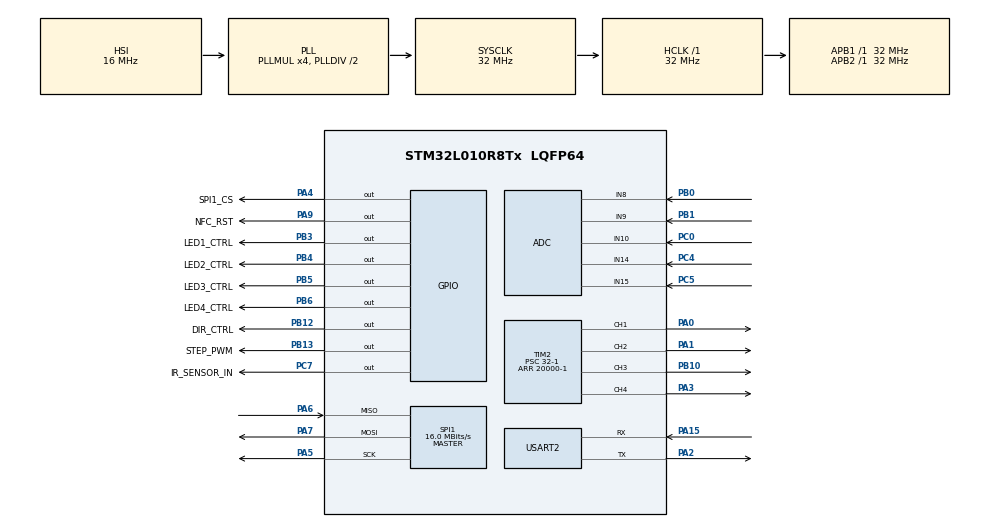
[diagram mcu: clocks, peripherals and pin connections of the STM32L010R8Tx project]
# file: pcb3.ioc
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ADC.ContinuousConvMode=ENABLE
ADC.SamplingTime=ADC_SAMPLETIME_160CYCLES_5
Mcu.Family=STM32L0
Mcu.Name=STM32L010R8Tx
Mcu.Package=LQFP64
NVIC.TIM21_IRQn=true\:0\:0\:false\:false\:true\:true\:true\:true
NVIC.USART2_IRQn=true\:0\:0\:false\:false\:true\:true\:true\:true
PA0.Signal=S_TIM2_CH1
PA1.Signal=S_TIM2_CH2
PA13.Mode=Serial_Wire
PA13.Signal=SYS_SWDIO
PA14.Mode=Serial_Wire
PA14.Signal=SYS_SWCLK
PA15.Mode=Asynchronous
PA15.Signal=USART2_RX
PA2.Mode=Asynchronous
PA2.Signal=USART2_TX
PA3.Signal=S_TIM2_CH4
PA4.GPIO_Label=SPI1_CS
PA4.Signal=GPIO_Output
PA5.Mode=Full_Duplex_Master
PA5.Signal=SPI1_SCK
PA6.Mode=Full_Duplex_Master
PA6.Signal=SPI1_MISO
PA7.Mode=Full_Duplex_Master
PA7.Signal=SPI1_MOSI
PA9.GPIO_Label=NFC_RST
PA9.Signal=GPIO_Output
PB0.GPIO_Mode=GPIO_MODE_ANALOG
PB0.GPIO_PuPd=GPIO_NOPULL
PB0.Mode=IN8
PB0.Signal=ADC_IN8
PB1.GPIO_Mode=GPIO_MODE_ANALOG
PB1.GPIO_PuPd=GPIO_NOPULL
PB1.Mode=IN9
PB1.Signal=ADC_IN9
PB10.Signal=S_TIM2_CH3
PB12.GPIO_Label=DIR_CTRL
PB12.Signal=GPIO_Output
PB13.GPIO_Label=STEP_PWM
PB13.Signal=GPIO_Output
PB3.GPIO_Label=LED1_CTRL
PB3.Signal=GPIO_Output
PB4.GPIO_Label=LED2_CTRL
PB4.Signal=GPIO_Output
PB5.GPIO_Label=LED3_CTRL
PB5.Signal=GPIO_Output
PB6.GPIO_Label=LED4_CTRL
PB6.Signal=GPIO_Output
PC0.Mode=IN10
PC0.Signal=ADC_IN10
PC14-OSC32_IN.Mode=LSE-External-Oscillator
PC14-OSC32_IN.Signal=RCC_OSC32_IN
PC15-OSC32_OUT.Mode=LSE-External-Oscillator
PC15-OSC32_OUT.Signal=RCC_OSC32_OUT
PC4.GPIO_Mode=GPIO_MODE_ANALOG
PC4.GPIO_PuPd=GPIO_NOPULL
PC4.Mode=IN14
PC4.Signal=ADC_IN14
PC5.GPIO_Mode=GPIO_MODE_ANALOG
PC5.GPIO_PuPd=GPIO_NOPULL
PC5.Mode=IN15
PC5.Signal=ADC_IN15
PC7.GPIO_Label=IR_SENSOR_IN
PC7.Signal=GPIO_Output
ProjectManager.HeapSize=0x200
ProjectManager.StackSize=0x400
ProjectManager.TargetToolchain=STM32CubeIDE
RCC.AHBFreq_Value=32000000
RCC.APB1Freq_Value=32000000
RCC.APB1TimFreq_Value=32000000
RCC.APB2Freq_Value=32000000
RCC.APB2TimFreq_Value=32000000
RCC.HCLKFreq_Value=32000000
RCC.HSE_VALUE=8000000
RCC.HSI16_VALUE=16000000
RCC.HSI_VALUE=16000000
RCC.MSI_VALUE=2097000
RCC.PLLMUL=RCC_PLLMUL_4
RCC.SYSCLKFreq_VALUE=32000000
RCC.SYSCLKSource=RCC_SYSCLKSOURCE_PLLCLK
RCC.VCOOutputFreq_Value=64000000
SH.S_TIM2_CH1.0=TIM2_CH1,PWM Generation1 CH1
SH.S_TIM2_CH2.0=TIM2_CH2,PWM Generation2 CH2
SH.S_TIM2_CH3.0=TIM2_CH3,PWM Generation3 CH3
SH.S_TIM2_CH4.0=TIM2_CH4,PWM Generation4 CH4
SPI1.CalculateBaudRate=16.0 MBits/s
SPI1.Direction=SPI_DIRECTION_2LINES
SPI1.Mode=SPI_MODE_MASTER
SPI1.VirtualType=VM_MASTER
TIM2.Channel-PWM\ Generation1\ CH1=TIM_CHANNEL_1
TIM2.Channel-PWM\ Generation2\ CH2=TIM_CHANNEL_2
TIM2.Channel-PWM\ Generation3\ CH3=TIM_CHANNEL_3
TIM2.Channel-PWM\ Generation4\ CH4=TIM_CHANNEL_4
TIM2.Period=20000-1
TIM2.Prescaler=32-1
TIM21.AutoReloadPreload=TIM_AUTORELOAD_PRELOAD_DISABLE
TIM21.Channel-Output\ Compare1\ No\ Output=TIM_CHANNEL_1
TIM21.Period=50000
TIM21.Prescaler=32
USART2.VirtualMode-Asynchronous=VM_ASYNC
VP_LPTIM1_VS_LPTIM_counterModeInternalClock.Mode=Counts__internal_clock_event_00
VP_TIM21_VS_ClockSourceINT.Mode=Internal
VP_TIM21_VS_no_output1.Mode=Output Compare1 No Output
VP_TIM2_VS_ClockSourceINT.Mode=Internal
board=custom

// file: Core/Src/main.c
/* USER CODE BEGIN Header */
/**
  ******************************************************************************
  * @file           : main.c
  * @brief          : Main program body
  ******************************************************************************
  * @attention
  *
  * Copyright (c) 2025 STMicroelectronics.
  * All rights reserved.
  *
  * This software is licensed under terms that can be found in the LICENSE file
  * in the root directory of this software component.
  * If no LICENSE file comes with this software, it is provided AS-IS.
  *
  ******************************************************************************
  */
/* USER CODE END Header */
#include "main.h"

/* USER CODE BEGIN Includes */
#include <stdlib.h>
#include <stdint.h>
//bras
#include <string.h>
#include <stdio.h>
#include "sensors_driver.h"
#include "nfc_sensor.h"

/* USER CODE END Includes */

/* USER CODE BEGIN PM */
//#define USE_PRINTF
/* USER CODE END PM */

ADC_HandleTypeDef hadc;

LPTIM_HandleTypeDef hlptim1;

SPI_HandleTypeDef hspi1;

TIM_HandleTypeDef htim2;
TIM_HandleTypeDef htim21;

UART_HandleTypeDef huart2;

/* USER CODE BEGIN PV */
uint8_t current_section = 0;
uint8_t target_section = 0;

#define TIMER_PERIOD 20000
ARM_STATE arm_state;
uint32_t current_rfid = 0x00;
bool login_successful = false;
uint8_t uartRxByte = 0x00;
uint8_t uartTxBuffer[128];

uint8_t stepsLeft = 0;

uint32_t adcValue1 = 0;
uint32_t adcValue2 = 0;
uint32_t adcValue3 = 0;
uint32_t adcValue4 = 0;
uint32_t batteryValue = 0;

float tension1 = 0.0;
float tension2 = 0.0;
float tension3 = 0.0;
float tension4 = 0.0;

typedef enum {
    ROBOT_DIRECTION_STOP = 0x00,
    ROBOT_DIRECTION_FORWARD = 0x01,
    ROBOT_DIRECTION_BACKWARDS = 0x02,
    ROBOT_DIRECTION_TURN_LEFT = 0x03,
    ROBOT_DIRECTION_TURN_RIGHT = 0x04
} ROBOT_DIRECTION;

ROBOT_DIRECTION current_direction = ROBOT_DIRECTION_FORWARD;
bool is_follow_enabled = false;

/* USER CODE END PV */

void SystemClock_Config(void);
static void MX_GPIO_Init(void);
static void MX_TIM21_Init(void);
static void MX_TIM2_Init(void);
static void MX_ADC_Init(void);
static void MX_SPI1_Init(void);
static void MX_USART2_UART_Init(void);
static void MX_LPTIM1_Init(void);

/* USER CODE BEGIN 0 */

void Set_Direction(uint8_t direction) {
    if (direction) {
        HAL_GPIO_WritePin(GPIOB, GPIO_PIN_12, GPIO_PIN_SET);
    } else {
        HAL_GPIO_WritePin(GPIOB, GPIO_PIN_12, GPIO_PIN_RESET);
    }
}

void stepMotor(uint8_t steps_number) {
	GPIO_PinState state = HAL_GPIO_ReadPin(STEP_PWM_GPIO_Port, STEP_PWM_Pin);
	stepsLeft = 2 * steps_number;
	if (state == GPIO_PIN_SET) {
		HAL_GPIO_WritePin(STEP_PWM_GPIO_Port, STEP_PWM_Pin, GPIO_PIN_RESET);
		stepsLeft++;
	}
	HAL_TIM_Base_Start_IT(&htim21);
}

void RotateToSection(uint8_t section) {

    if (section > 7) return;

    const uint16_t steps_per_section = 25; // 45° / 1.8° = 25

    target_section = section;
    int8_t section_diff = target_section - current_section;

    if (section_diff == 0) return;
    Set_Direction( (section_diff > 0) ? 1 : 0);

    uint16_t steps_to_move = abs(section_diff) * steps_per_section;

//    HAL_TIM_PWM_Start_IT(&htim21, TIM_CHANNEL_1);
//    HAL_Delay(50 * steps_to_move); //T = 0.05s
//    HAL_TIM_PWM_Stop_IT(&htim21, TIM_CHANNEL_1);
    stepMotor(steps_to_move);
}

void ControlMotor(uint8_t direction, float angle) {
    if (angle < 0 || angle > 360) return;

    const float step_angle = 1.8;
    uint16_t steps_to_move = (uint16_t)(angle / step_angle + 0.5);

    if (direction == 1) {
        Set_Direction(1);
    } else if (direction == 0) {
        Set_Direction(0);
    } else {
        return;
    }

    HAL_TIM_PWM_Start_IT(&htim21, TIM_CHANNEL_1);

    for (uint16_t i = 0; i < steps_to_move; i++) {
        HAL_Delay(50);
    }

    HAL_TIM_PWM_Stop_IT(&htim21, TIM_CHANNEL_1);
}

//bras
uint16_t calculate_pwm_from_angle(float angle) {
    if (angle < 0.0f) angle = 0.0f;
    if (angle > 180.0f) angle = 180.0f;

    float duty_cycle = 2.5f + (angle / 180.0f) * (12.5f - 2.5f);

    return (uint16_t)(TIMER_PERIOD * duty_cycle / 100.0f);
}

float calculate_angle_from_pwm(uint16_t pwm) {
    if (pwm > TIMER_PERIOD) return 100.0f;

    float duty_cycle = 100.0f * ((float) pwm) / TIMER_PERIOD;
    float angle = (duty_cycle - 2.5f) / (12.5f - 2.5f) * 180.0f;

    return angle;
}

void control_servo(uint8_t motor_index, float angle) {
    if (motor_index < 1 || motor_index > 6) {
        return;
    }

    uint16_t pwm_value = calculate_pwm_from_angle(angle);

    switch (motor_index) {
        case 2:
            __HAL_TIM_SET_COMPARE(&htim2, TIM_CHANNEL_1, pwm_value);
            break;
        case 3:
            __HAL_TIM_SET_COMPARE(&htim2, TIM_CHANNEL_2, pwm_value);
            break;
        case 4:
            __HAL_TIM_SET_COMPARE(&htim2, TIM_CHANNEL_3, pwm_value);
            break;
        case 6:
            __HAL_TIM_SET_COMPARE(&htim2, TIM_CHANNEL_4, pwm_value);
            break;
    }
    arm_state = ARM_STATE_CUSTOM;
}

float read_servo(uint8_t motor_index) {
    if (motor_index < 1 || motor_index > 6) {
        return 0.0f;
    }

    uint16_t pwm_value = 0;
    switch (motor_index) {
        case 2:
            pwm_value = __HAL_TIM_GET_COMPARE(&htim2, TIM_CHANNEL_1);
            break;
        case 3:
            pwm_value = __HAL_TIM_GET_COMPARE(&htim2, TIM_CHANNEL_2);
            break;
        case 4:
            pwm_value = __HAL_TIM_GET_COMPARE(&htim2, TIM_CHANNEL_3);
            break;
        case 6:
            pwm_value = __HAL_TIM_GET_COMPARE(&htim2, TIM_CHANNEL_4);
            break;
    }

    return calculate_angle_from_pwm(pwm_value);
}

void control_stop_yuan() {
    __HAL_TIM_SET_COMPARE(&htim2, TIM_CHANNEL_1, 400);
    __HAL_TIM_SET_COMPARE(&htim2, TIM_CHANNEL_2, 600);
    __HAL_TIM_SET_COMPARE(&htim2, TIM_CHANNEL_3, 2600);
    __HAL_TIM_SET_COMPARE(&htim2, TIM_CHANNEL_4, 1000);
    arm_state = ARM_STATE_IDLE;
}

void control_stop() {
    __HAL_TIM_SET_COMPARE(&htim2, TIM_CHANNEL_1, 400);
    __HAL_TIM_SET_COMPARE(&htim2, TIM_CHANNEL_2, 400);
    __HAL_TIM_SET_COMPARE(&htim2, TIM_CHANNEL_3, 600);
    __HAL_TIM_SET_COMPARE(&htim2, TIM_CHANNEL_4, 1000);
    arm_state = ARM_STATE_IDLE;
}

void get_ready() {
    __HAL_TIM_SET_COMPARE(&htim2, TIM_CHANNEL_1, 800);
    __HAL_TIM_SET_COMPARE(&htim2, TIM_CHANNEL_2, 450);
    __HAL_TIM_SET_COMPARE(&htim2, TIM_CHANNEL_3, 2500);
    __HAL_TIM_SET_COMPARE(&htim2, TIM_CHANNEL_4, 900);
    arm_state = ARM_STATE_READY;
}

void catch() {
    __HAL_TIM_SET_COMPARE(&htim2, TIM_CHANNEL_1, 800);
    __HAL_TIM_SET_COMPARE(&htim2, TIM_CHANNEL_2, 450);
    __HAL_TIM_SET_COMPARE(&htim2, TIM_CHANNEL_3, 2500);
    __HAL_TIM_SET_COMPARE(&htim2, TIM_CHANNEL_4, 1200);
    arm_state = ARM_STATE_GRAB;
}

void lift_up() {
    //__HAL_TIM_SET_COMPARE(&htim2, TIM_CHANNEL_4, 1200);//6
    __HAL_TIM_SET_COMPARE(&htim2, TIM_CHANNEL_1, 500);
    __HAL_TIM_SET_COMPARE(&htim2, TIM_CHANNEL_2, 700);
    __HAL_TIM_SET_COMPARE(&htim2, TIM_CHANNEL_3, 2100);
    arm_state = ARM_STATE_DISPLAY;
}
/* USER CODE END 0 */

int main(void)
{

  /* MCU Configuration--------------------------------------------------------*/

  /* Reset of all peripherals, Initializes the Flash interface and the Systick. */
  HAL_Init();

  /* Configure the system clock */
  SystemClock_Config();

  /* Initialize all configured peripherals */
  MX_GPIO_Init();
  MX_TIM21_Init();
  MX_TIM2_Init();
  MX_ADC_Init();
  MX_SPI1_Init();
  MX_USART2_UART_Init();
  MX_LPTIM1_Init();
  /* USER CODE BEGIN 2 */

//    HAL_TIM_PWM_Start_IT(&htim21, TIM_CHANNEL_1);
    HAL_TIM_Base_Start_IT(&htim2);
    HAL_TIM_PWM_Start_IT(&htim2, TIM_CHANNEL_1);
    HAL_TIM_PWM_Start_IT(&htim2, TIM_CHANNEL_2);
    HAL_TIM_PWM_Start_IT(&htim2, TIM_CHANNEL_3);
    HAL_TIM_PWM_Start_IT(&htim2, TIM_CHANNEL_4);

    init_nfc(&hspi1, SPI1_CS_GPIO_Port, SPI1_CS_Pin, NFC_RST_GPIO_Port, NFC_RST_Pin);
    HAL_UART_Receive_IT(&huart2, &uartRxByte, 1);

    printf("System initialized !\n");

    control_stop_yuan();
    RotateToSection(0);

  /* USER CODE END 2 */

  /* Infinite loop */
  /* USER CODE BEGIN WHILE */
    printf("Main loop started\n");
    uint8_t counter = 0;
    while (1) {
    /* USER CODE END WHILE */

    /* USER CODE BEGIN 3 */
        HAL_Delay(100);
        counter = (counter + 1) % 100;

        if (counter % 10 == 0) {
            if (get_nfc_id(&current_rfid) && current_rfid != 0) {
                SENSOR_COMM_OPTIONS options = {
                        .is_write = false,
                        .is_answer = true,
                        .echo_write = false,
                        .is_spont_answ = true
                };
                uint8_t answer[4];
                answer[0] = (current_rfid >> 0 * 8) & 0xFF;
                answer[1] = (current_rfid >> 1 * 8) & 0xFF;
                answer[2] = (current_rfid >> 2 * 8) & 0xFF;
                answer[3] = (current_rfid >> 3 * 8) & 0xFF;
                sensor_send_cmd(SENSOR_DEVICE_RFID, options, answer, 4);
            }
        }

        // Attendre que la conversion soit terminée

        // Lancer les conversions
        HAL_ADC_Start(&hadc);

        // Attendre que la conversion soit terminée
        if (HAL_ADC_PollForConversion(&hadc, 100) == HAL_OK) {
            adcValue1 = HAL_ADC_GetValue(&hadc);  // Canal 8

        }

        if (HAL_ADC_PollForConversion(&hadc, 100) == HAL_OK) {
            adcValue2 = HAL_ADC_GetValue(&hadc);  // Canal 9

        }

        if (HAL_ADC_PollForConversion(&hadc, 100) == HAL_OK) {
            batteryValue = HAL_ADC_GetValue(&hadc);  // Canal 10

        }

        if (HAL_ADC_PollForConversion(&hadc, 100) == HAL_OK) {
            adcValue3 = HAL_ADC_GetValue(&hadc);  // Canal 14

        }

        if (HAL_ADC_PollForConversion(&hadc, 100) == HAL_OK) {
            adcValue4 = HAL_ADC_GetValue(&hadc);  // Canal 15

        }
        HAL_ADC_Stop(&hadc);

        uint8_t batteryLevel = batteryValue * 100 / 4095;
        if (counter % 50 == 0) {
            SENSOR_COMM_OPTIONS options = {
                    .is_answer = true,
                    .is_write = false,
                    .echo_write = false,
                    .is_spont_answ = true
            };
            sensor_send_cmd(SENSOR_DEVICE_POWER, options, &batteryLevel, 1);
        }

        // Convertir en tension
        tension1 = (float) adcValue1 * 3.3 / 4095;
        tension2 = (float) adcValue2 * 3.3 / 4095;
        tension3 = (float) adcValue3 * 3.3 / 4095;
        tension4 = (float) adcValue4 * 3.3 / 4095;

        // Contrôler les LED en fonction des tensions
        ROBOT_DIRECTION new_direction = ROBOT_DIRECTION_FORWARD;

        if (tension1 > 2.75) {
            HAL_GPIO_WritePin(GPIOB, GPIO_PIN_3, GPIO_PIN_SET);
            new_direction = ROBOT_DIRECTION_STOP;
        } else {
            HAL_GPIO_WritePin(GPIOB, GPIO_PIN_3, GPIO_PIN_RESET);
        }

        if (tension2 > 2.75) {
            HAL_GPIO_WritePin(GPIOB, GPIO_PIN_4, GPIO_PIN_SET);
            new_direction = ROBOT_DIRECTION_STOP;
        } else {
            HAL_GPIO_WritePin(GPIOB, GPIO_PIN_4, GPIO_PIN_RESET);
        }
        if (tension3 > 2.75) {
            HAL_GPIO_WritePin(GPIOB, GPIO_PIN_5, GPIO_PIN_SET);
            new_direction = ROBOT_DIRECTION_STOP;
        } else {
            HAL_GPIO_WritePin(GPIOB, GPIO_PIN_5, GPIO_PIN_RESET);
        }

        if (tension4 > 2.75) {
            HAL_GPIO_WritePin(GPIOB, GPIO_PIN_6, GPIO_PIN_SET);
            new_direction = ROBOT_DIRECTION_STOP;
        } else {
            HAL_GPIO_WritePin(GPIOB, GPIO_PIN_6, GPIO_PIN_RESET);
        }

        if (new_direction != current_direction) {
            SENSOR_COMM_OPTIONS options = {
                    .is_answer = true,
                    .is_write = false,
                    .echo_write = false,
                    .is_spont_answ = true
            };
            sensor_send_cmd(SENSOR_DEVICE_IR_TELEMETERS, options, &new_direction, 1);
            current_direction = new_direction;
        }

    }
  /* USER CODE END 3 */
}

void SystemClock_Config(void)
{
  RCC_OscInitTypeDef RCC_OscInitStruct = {0};
  RCC_ClkInitTypeDef RCC_ClkInitStruct = {0};
  RCC_PeriphCLKInitTypeDef PeriphClkInit = {0};

  /** Configure the main internal regulator output voltage
  */
  __HAL_PWR_VOLTAGESCALING_CONFIG(PWR_REGULATOR_VOLTAGE_SCALE1);

  /** Initializes the RCC Oscillators according to the specified parameters
  * in the RCC_OscInitTypeDef structure.
  */
  RCC_OscInitStruct.OscillatorType = RCC_OSCILLATORTYPE_HSI;
  RCC_OscInitStruct.HSIState = RCC_HSI_ON;
  RCC_OscInitStruct.HSICalibrationValue = RCC_HSICALIBRATION_DEFAULT;
  RCC_OscInitStruct.PLL.PLLState = RCC_PLL_ON;
  RCC_OscInitStruct.PLL.PLLSource = RCC_PLLSOURCE_HSI;
  RCC_OscInitStruct.PLL.PLLMUL = RCC_PLLMUL_4;
  RCC_OscInitStruct.PLL.PLLDIV = RCC_PLLDIV_2;
  if (HAL_RCC_OscConfig(&RCC_OscInitStruct) != HAL_OK)
  {
    Error_Handler();
  }

  /** Initializes the CPU, AHB and APB buses clocks
  */
  RCC_ClkInitStruct.ClockType = RCC_CLOCKTYPE_HCLK|RCC_CLOCKTYPE_SYSCLK
                              |RCC_CLOCKTYPE_PCLK1|RCC_CLOCKTYPE_PCLK2;
  RCC_ClkInitStruct.SYSCLKSource = RCC_SYSCLKSOURCE_PLLCLK;
  RCC_ClkInitStruct.AHBCLKDivider = RCC_SYSCLK_DIV1;
  RCC_ClkInitStruct.APB1CLKDivider = RCC_HCLK_DIV1;
  RCC_ClkInitStruct.APB2CLKDivider = RCC_HCLK_DIV1;

  if (HAL_RCC_ClockConfig(&RCC_ClkInitStruct, FLASH_LATENCY_1) != HAL_OK)
  {
    Error_Handler();
  }
  PeriphClkInit.PeriphClockSelection = RCC_PERIPHCLK_USART2|RCC_PERIPHCLK_LPTIM1;
  PeriphClkInit.Usart2ClockSelection = RCC_USART2CLKSOURCE_PCLK1;
  PeriphClkInit.LptimClockSelection = RCC_LPTIM1CLKSOURCE_PCLK;

  if (HAL_RCCEx_PeriphCLKConfig(&PeriphClkInit) != HAL_OK)
  {
    Error_Handler();
  }
}

static void MX_ADC_Init(void)
{

  ADC_ChannelConfTypeDef sConfig = {0};

  /** Configure the global features of the ADC (Clock, Resolution, Data Alignment and number of conversion)
  */
  hadc.Instance = ADC1;
  hadc.Init.OversamplingMode = DISABLE;
  hadc.Init.ClockPrescaler = ADC_CLOCK_SYNC_PCLK_DIV2;
  hadc.Init.Resolution = ADC_RESOLUTION_12B;
  hadc.Init.SamplingTime = ADC_SAMPLETIME_160CYCLES_5;
  hadc.Init.ScanConvMode = ADC_SCAN_DIRECTION_FORWARD;
  hadc.Init.DataAlign = ADC_DATAALIGN_RIGHT;
  hadc.Init.ContinuousConvMode = ENABLE;
  hadc.Init.DiscontinuousConvMode = DISABLE;
  hadc.Init.ExternalTrigConvEdge = ADC_EXTERNALTRIGCONVEDGE_NONE;
  hadc.Init.ExternalTrigConv = ADC_SOFTWARE_START;
  hadc.Init.DMAContinuousRequests = DISABLE;
  hadc.Init.EOCSelection = ADC_EOC_SINGLE_CONV;
  hadc.Init.Overrun = ADC_OVR_DATA_PRESERVED;
  hadc.Init.LowPowerAutoWait = DISABLE;
  hadc.Init.LowPowerFrequencyMode = DISABLE;
  hadc.Init.LowPowerAutoPowerOff = DISABLE;
  if (HAL_ADC_Init(&hadc) != HAL_OK)
  {
    Error_Handler();
  }

  /** Configure for the selected ADC regular channel to be converted.
  */
  sConfig.Channel = ADC_CHANNEL_8;
  sConfig.Rank = ADC_RANK_CHANNEL_NUMBER;
  if (HAL_ADC_ConfigChannel(&hadc, &sConfig) != HAL_OK)
  {
    Error_Handler();
  }

  /** Configure for the selected ADC regular channel to be converted.
  */
  sConfig.Channel = ADC_CHANNEL_9;
  if (HAL_ADC_ConfigChannel(&hadc, &sConfig) != HAL_OK)
  {
    Error_Handler();
  }

  /** Configure for the selected ADC regular channel to be converted.
  */
  sConfig.Channel = ADC_CHANNEL_10;
  if (HAL_ADC_ConfigChannel(&hadc, &sConfig) != HAL_OK)
  {
    Error_Handler();
  }

  /** Configure for the selected ADC regular channel to be converted.
  */
  sConfig.Channel = ADC_CHANNEL_14;
  if (HAL_ADC_ConfigChannel(&hadc, &sConfig) != HAL_OK)
  {
    Error_Handler();
  }

  /** Configure for the selected ADC regular channel to be converted.
  */
  sConfig.Channel = ADC_CHANNEL_15;
  if (HAL_ADC_ConfigChannel(&hadc, &sConfig) != HAL_OK)
  {
    Error_Handler();
  }

}

static void MX_LPTIM1_Init(void)
{

  hlptim1.Instance = LPTIM1;
  hlptim1.Init.Clock.Source = LPTIM_CLOCKSOURCE_APBCLOCK_LPOSC;
  hlptim1.Init.Clock.Prescaler = LPTIM_PRESCALER_DIV1;
  hlptim1.Init.Trigger.Source = LPTIM_TRIGSOURCE_SOFTWARE;
  hlptim1.Init.OutputPolarity = LPTIM_OUTPUTPOLARITY_HIGH;
  hlptim1.Init.UpdateMode = LPTIM_UPDATE_IMMEDIATE;
  hlptim1.Init.CounterSource = LPTIM_COUNTERSOURCE_INTERNAL;
  if (HAL_LPTIM_Init(&hlptim1) != HAL_OK)
  {
    Error_Handler();
  }

}

static void MX_SPI1_Init(void)
{

  /* SPI1 parameter configuration*/
  hspi1.Instance = SPI1;
  hspi1.Init.Mode = SPI_MODE_MASTER;
  hspi1.Init.Direction = SPI_DIRECTION_2LINES;
  hspi1.Init.DataSize = SPI_DATASIZE_8BIT;
  hspi1.Init.CLKPolarity = SPI_POLARITY_LOW;
  hspi1.Init.CLKPhase = SPI_PHASE_1EDGE;
  hspi1.Init.NSS = SPI_NSS_SOFT;
  hspi1.Init.BaudRatePrescaler = SPI_BAUDRATEPRESCALER_2;
  hspi1.Init.FirstBit = SPI_FIRSTBIT_MSB;
  hspi1.Init.TIMode = SPI_TIMODE_DISABLE;
  hspi1.Init.CRCCalculation = SPI_CRCCALCULATION_DISABLE;
  hspi1.Init.CRCPolynomial = 7;
  if (HAL_SPI_Init(&hspi1) != HAL_OK)
  {
    Error_Handler();
  }

}

static void MX_TIM2_Init(void)
{

  TIM_ClockConfigTypeDef sClockSourceConfig = {0};
  TIM_MasterConfigTypeDef sMasterConfig = {0};
  TIM_OC_InitTypeDef sConfigOC = {0};

  htim2.Instance = TIM2;
  htim2.Init.Prescaler = 32-1;
  htim2.Init.CounterMode = TIM_COUNTERMODE_UP;
  htim2.Init.Period = 20000-1;
  htim2.Init.ClockDivision = TIM_CLOCKDIVISION_DIV1;
  htim2.Init.AutoReloadPreload = TIM_AUTORELOAD_PRELOAD_DISABLE;
  if (HAL_TIM_Base_Init(&htim2) != HAL_OK)
  {
    Error_Handler();
  }
  sClockSourceConfig.ClockSource = TIM_CLOCKSOURCE_INTERNAL;
  if (HAL_TIM_ConfigClockSource(&htim2, &sClockSourceConfig) != HAL_OK)
  {
    Error_Handler();
  }
  if (HAL_TIM_PWM_Init(&htim2) != HAL_OK)
  {
    Error_Handler();
  }
  sMasterConfig.MasterOutputTrigger = TIM_TRGO_RESET;
  sMasterConfig.MasterSlaveMode = TIM_MASTERSLAVEMODE_DISABLE;
  if (HAL_TIMEx_MasterConfigSynchronization(&htim2, &sMasterConfig) != HAL_OK)
  {
    Error_Handler();
  }
  sConfigOC.OCMode = TIM_OCMODE_PWM1;
  sConfigOC.Pulse = 0;
  sConfigOC.OCPolarity = TIM_OCPOLARITY_HIGH;
  sConfigOC.OCFastMode = TIM_OCFAST_DISABLE;
  if (HAL_TIM_PWM_ConfigChannel(&htim2, &sConfigOC, TIM_CHANNEL_1) != HAL_OK)
  {
    Error_Handler();
  }
  if (HAL_TIM_PWM_ConfigChannel(&htim2, &sConfigOC, TIM_CHANNEL_2) != HAL_OK)
  {
    Error_Handler();
  }
  if (HAL_TIM_PWM_ConfigChannel(&htim2, &sConfigOC, TIM_CHANNEL_3) != HAL_OK)
  {
    Error_Handler();
  }
  if (HAL_TIM_PWM_ConfigChannel(&htim2, &sConfigOC, TIM_CHANNEL_4) != HAL_OK)
  {
    Error_Handler();
  }
  HAL_TIM_MspPostInit(&htim2);

}

static void MX_TIM21_Init(void)
{

  TIM_ClockConfigTypeDef sClockSourceConfig = {0};
  TIM_MasterConfigTypeDef sMasterConfig = {0};
  TIM_OC_InitTypeDef sConfigOC = {0};

  htim21.Instance = TIM21;
  htim21.Init.Prescaler = 32;
  htim21.Init.CounterMode = TIM_COUNTERMODE_UP;
  htim21.Init.Period = 50000;
  htim21.Init.ClockDivision = TIM_CLOCKDIVISION_DIV1;
  htim21.Init.AutoReloadPreload = TIM_AUTORELOAD_PRELOAD_DISABLE;
  if (HAL_TIM_Base_Init(&htim21) != HAL_OK)
  {
    Error_Handler();
  }
  sClockSourceConfig.ClockSource = TIM_CLOCKSOURCE_INTERNAL;
  if (HAL_TIM_ConfigClockSource(&htim21, &sClockSourceConfig) != HAL_OK)
  {
    Error_Handler();
  }
  if (HAL_TIM_OC_Init(&htim21) != HAL_OK)
  {
    Error_Handler();
  }
  sMasterConfig.MasterOutputTrigger = TIM_TRGO_RESET;
  sMasterConfig.MasterSlaveMode = TIM_MASTERSLAVEMODE_DISABLE;
  if (HAL_TIMEx_MasterConfigSynchronization(&htim21, &sMasterConfig) != HAL_OK)
  {
    Error_Handler();
  }
  sConfigOC.OCMode = TIM_OCMODE_TIMING;
  sConfigOC.Pulse = 0;
  sConfigOC.OCPolarity = TIM_OCPOLARITY_HIGH;
  sConfigOC.OCFastMode = TIM_OCFAST_DISABLE;
  if (HAL_TIM_OC_ConfigChannel(&htim21, &sConfigOC, TIM_CHANNEL_1) != HAL_OK)
  {
    Error_Handler();
  }

}

static void MX_USART2_UART_Init(void)
{

  huart2.Instance = USART2;
  huart2.Init.BaudRate = 115200;
  huart2.Init.WordLength = UART_WORDLENGTH_8B;
  huart2.Init.StopBits = UART_STOPBITS_1;
  huart2.Init.Parity = UART_PARITY_NONE;
  huart2.Init.Mode = UART_MODE_TX_RX;
  huart2.Init.HwFlowCtl = UART_HWCONTROL_NONE;
  huart2.Init.OverSampling = UART_OVERSAMPLING_16;
  huart2.Init.OneBitSampling = UART_ONE_BIT_SAMPLE_DISABLE;
  huart2.AdvancedInit.AdvFeatureInit = UART_ADVFEATURE_NO_INIT;
  if (HAL_UART_Init(&huart2) != HAL_OK)
  {
    Error_Handler();
  }

}

static void MX_GPIO_Init(void)
{
  GPIO_InitTypeDef GPIO_InitStruct = {0};

  /* GPIO Ports Clock Enable */
  __HAL_RCC_GPIOC_CLK_ENABLE();
  __HAL_RCC_GPIOA_CLK_ENABLE();
  __HAL_RCC_GPIOB_CLK_ENABLE();

  /*Configure GPIO pin Output Level */
  HAL_GPIO_WritePin(GPIOA, SPI1_CS_Pin|NFC_RST_Pin, GPIO_PIN_RESET);

  /*Configure GPIO pin Output Level */
  HAL_GPIO_WritePin(GPIOB, DIR_CTRL_Pin|STEP_PWM_Pin|LED1_CTRL_Pin|LED2_CTRL_Pin
                          |LED3_CTRL_Pin|LED4_CTRL_Pin, GPIO_PIN_RESET);

  /*Configure GPIO pin Output Level */
  HAL_GPIO_WritePin(IR_SENSOR_IN_GPIO_Port, IR_SENSOR_IN_Pin, GPIO_PIN_RESET);

  /*Configure GPIO pins : SPI1_CS_Pin NFC_RST_Pin */
  GPIO_InitStruct.Pin = SPI1_CS_Pin|NFC_RST_Pin;
  GPIO_InitStruct.Mode = GPIO_MODE_OUTPUT_PP;
  GPIO_InitStruct.Pull = GPIO_NOPULL;
  GPIO_InitStruct.Speed = GPIO_SPEED_FREQ_LOW;
  HAL_GPIO_Init(GPIOA, &GPIO_InitStruct);

  /*Configure GPIO pins : DIR_CTRL_Pin STEP_PWM_Pin LED1_CTRL_Pin LED2_CTRL_Pin
                           LED3_CTRL_Pin LED4_CTRL_Pin */
  GPIO_InitStruct.Pin = DIR_CTRL_Pin|STEP_PWM_Pin|LED1_CTRL_Pin|LED2_CTRL_Pin
                          |LED3_CTRL_Pin|LED4_CTRL_Pin;
  GPIO_InitStruct.Mode = GPIO_MODE_OUTPUT_PP;
  GPIO_InitStruct.Pull = GPIO_NOPULL;
  GPIO_InitStruct.Speed = GPIO_SPEED_FREQ_LOW;
  HAL_GPIO_Init(GPIOB, &GPIO_InitStruct);

  /*Configure GPIO pin : IR_SENSOR_IN_Pin */
  GPIO_InitStruct.Pin = IR_SENSOR_IN_Pin;
  GPIO_InitStruct.Mode = GPIO_MODE_OUTPUT_PP;
  GPIO_InitStruct.Pull = GPIO_NOPULL;
  GPIO_InitStruct.Speed = GPIO_SPEED_FREQ_LOW;
  HAL_GPIO_Init(IR_SENSOR_IN_GPIO_Port, &GPIO_InitStruct);

}

/* USER CODE BEGIN 4 */
int __io_putchar(int ch) {
#ifdef USE_PRINTF
    HAL_UART_Transmit(&huart2, (uint8_t * ) & ch, 1, 0xFFFF);
#endif
    return ch;
}

bool device_send_uart(uint8_t *bytes, uint8_t bytes_len) {
    memcpy(uartTxBuffer, bytes, bytes_len);
    return HAL_UART_Transmit_IT(&huart2, uartTxBuffer, bytes_len) == HAL_OK;
}

void HAL_UART_RxCpltCallback(UART_HandleTypeDef *huart) {
    HAL_UART_Receive_IT(&huart2, &uartRxByte, 1);
    sensor_uart_rx_cb(&uartRxByte, 1);
}

void HAL_TIM_PeriodElapsedCallback(TIM_HandleTypeDef *htim) {
	if (htim != &htim21) return;

	if (stepsLeft > 0) {
		HAL_GPIO_TogglePin(STEP_PWM_GPIO_Port, STEP_PWM_Pin);
		stepsLeft--;
	} else {
		HAL_TIM_Base_Stop_IT(&htim21);
		HAL_GPIO_WritePin(STEP_PWM_GPIO_Port, STEP_PWM_Pin, GPIO_PIN_RESET);
		current_section = target_section;
	}

}

// UART Callbacks

uint8_t sensor_hw_get_battery_level() {
    return 0;
}

uint32_t sensor_hw_get_rfid() {
    get_nfc_id(&current_rfid);
    return current_rfid;
}

uint8_t sensor_hw_get_set_ir_telemeter(bool set, uint8_t ir_telem_id, uint8_t ir_telem_distance) {
    if (set) {
        is_follow_enabled = (ir_telem_distance != 0);
    } else {
        return current_direction;
    }
}

bool sensor_hw_read_line_follower(uint8_t line_follow_id) {
    return 0;
}

uint8_t sensor_hw_get_set_led_value(bool set, uint8_t led_id, uint8_t led_value) {
    GPIO_TypeDef *led_port;
    uint32_t led_pin;
    switch (led_id) {
        case 1: {
            led_port = LED1_CTRL_GPIO_Port;
            led_pin = LED1_CTRL_Pin;
        }
        case 2: {
            led_port = LED2_CTRL_GPIO_Port;
            led_pin = LED2_CTRL_Pin;
        }
        case 3: {
            led_port = LED3_CTRL_GPIO_Port;
            led_pin = LED3_CTRL_Pin;
        }
        case 4: {
            led_port = LED4_CTRL_GPIO_Port;
            led_pin = LED4_CTRL_Pin;
        }
        default:
            return 0x00;
    }

    if (set) {
        HAL_GPIO_WritePin(led_port, led_pin, (led_value != 0) ? GPIO_PIN_SET : GPIO_PIN_RESET);
    }

    return HAL_GPIO_ReadPin(led_port, led_pin) == GPIO_PIN_SET ? 1 : 0;
}

uint8_t sensor_hw_get_set_tool_selection(bool set, uint8_t tool_id) {
    if (set) {
        RotateToSection(tool_id);
    }

    return current_section;
}

uint8_t sensor_hw_robot_get_set_servo(bool set, uint8_t servo_id, uint8_t servo_angle) {
    if (set) {
        control_servo(servo_id, (float) servo_angle);
    }

    return read_servo(servo_id);
}

uint8_t sensor_hw_robot_get_set_state(bool set, ARM_STATE state) {
    if (set) {
        switch (state) {
            case ARM_STATE_CUSTOM: {
                break;
            }
            case ARM_STATE_IDLE: {
                control_stop();
            }
            case ARM_STATE_READY: {
                get_ready();
            }
            case ARM_STATE_GRAB: {
                catch();
            }
            case ARM_STATE_DISPLAY: {
                lift_up();
            }
            default: {
                break;
            }
        }
    }

    return arm_state;
}

/* USER CODE END 4 */

void Error_Handler(void)
{
    __disable_irq();
    while (1) {
    }
}
